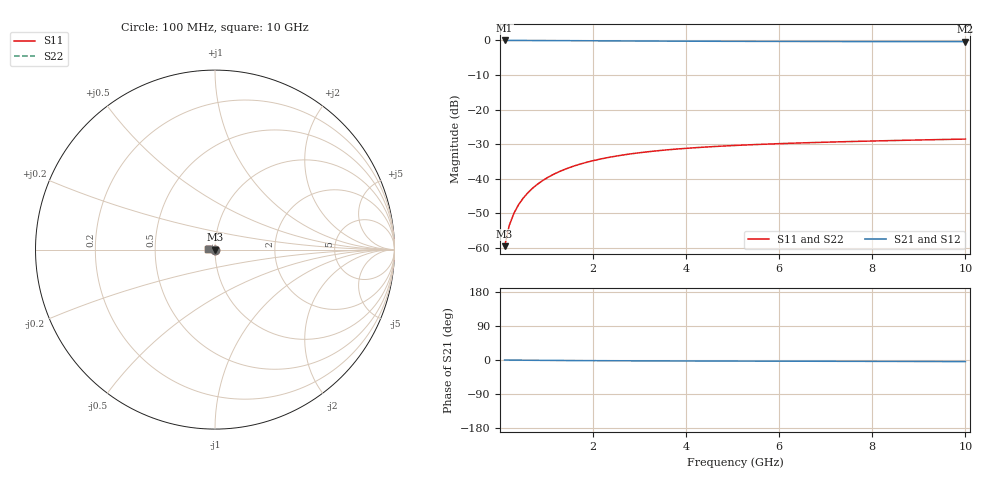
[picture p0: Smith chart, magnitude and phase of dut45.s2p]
! Touchstone file exported from HFSS 2024.1.0
!  File:  C:/UserFiles/LocalFiles/RDL_TSV_Batchsim/temp_TSV1_45_1779371511.aedt
!  Generated:  09:57:05 PM May 21, 2026
!  Design:  TSV1
!  Project:  temp_TSV1_45_1779371511
!  Setup:  Setup1
!  Solution:  Sweep
! Variables:
!  dtsv = 11.87um
!  hbump = 3um
!  htsv = 61.05um
!  lrdl = 252.1521522um
!  p = 40
!  p1 = 57.04um
!  t = 500um
!  trdl = 3um
!  wrdl = 24.89489489um
# GHz S MA R 50.000000
! Terminal data exported
! Port[1] = TSV22_T1
! Port[2] = TSV22_T2
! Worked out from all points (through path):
!   100 points, 100 MHz to 10 GHz, reference 50 ohm
!   highest |S21| = 0.00 dB at 100 MHz (marker M1); lowest = -0.3 dB at 10 GHz (marker M2)
!   lowest |S11| = -59.5 dB at 100 MHz (marker M3), VSWR 1.00, Z = 50 - j0.106 ohm
!   |S11| at or under -10 dB: start of sweep to end of sweep
!   |S22| runs from -59.5 to -28.5 dB; largest |S21 - S12| = 3.2e-15
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0.1  0.001059 -87.3  0.9999 -0.1  0.9999 -0.1  0.001059 -87.3
! Gamma 0 0 0 0
! Port Impedance 50 0 50 0
0.2  0.002113 -91.5  0.9997 -0.2  0.9997 -0.2  0.002113 -91.5
0.3  0.003166 -94.2  0.9995 -0.3  0.9995 -0.3  0.003166 -94.2
0.4  0.004214 -96.6  0.9993 -0.4  0.9993 -0.4  0.004214 -96.6
0.5  0.005252 -98.8  0.9989 -0.5  0.9989 -0.5  0.005252 -98.8
0.6  0.006277 -100.9  0.9985 -0.6  0.9985 -0.6  0.006277 -100.9
0.7  0.007286 -103.0  0.9981 -0.7  0.9981 -0.7  0.007286 -103.0
0.8  0.008277 -105.0  0.9976 -0.8  0.9976 -0.8  0.008277 -105.0
0.9  0.009247 -107.0  0.997 -0.9  0.997 -0.9  0.009247 -107.0
1.1  0.01112 -110.8  0.9957 -1.1  0.9957 -1.1  0.01112 -110.8
1.4  0.01373 -116.3  0.9936 -1.3  0.9936 -1.3  0.01373 -116.3
1.6  0.01534 -119.8  0.9921 -1.5  0.9921 -1.5  0.01534 -119.8
1.8  0.01684 -123.0  0.9905 -1.6  0.9905 -1.6  0.01684 -123.0
2.1  0.0189 -127.7  0.9882 -1.8  0.9882 -1.8  0.0189 -127.7
2.5  0.02128 -133.4  0.9851 -2.0  0.9851 -2.0  0.02128 -133.4
2.9  0.02332 -138.5  0.9823 -2.2  0.9823 -2.2  0.02332 -138.5
3.4  0.02545 -144.3  0.979 -2.4  0.979 -2.4  0.02545 -144.3
4.2  0.02813 -152.2  0.9747 -2.6  0.9747 -2.6  0.02813 -152.2
5.1  0.0304 -159.7  0.971 -2.9  0.971 -2.9  0.0304 -159.7
6.7  0.03332 -170.5  0.9663 -3.3  0.9663 -3.3  0.03332 -170.5
8.4  0.03563 -179.6  0.9632 -3.7  0.9632 -3.7  0.03563 -179.6
10  0.03747 173.2  0.9612 -4.2  0.9612 -4.2  0.03747 173.2
